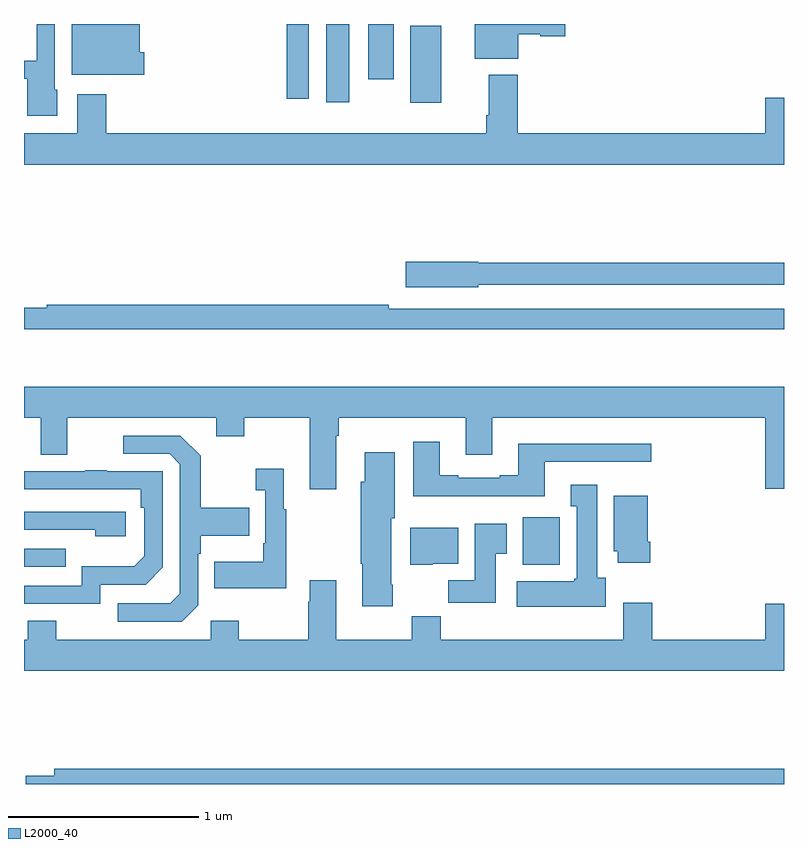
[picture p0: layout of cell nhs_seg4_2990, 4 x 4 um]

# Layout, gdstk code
import gdstk
lib = gdstk.Library(unit=1e-6, precision=1e-09)
def R(c, l, rs):  # rectangles x0, y0, x1, y1
    for r in rs: c.add(gdstk.rectangle(r[:2], r[2:], *l))
def P(c, l, *ps):  # polygons
    for p in ps: c.add(gdstk.Polygon(p, *l))
L2000_40 = (2000, 40)

nhs_seg4_2990 = lib.new_cell('nhs_seg4_2990')
R(nhs_seg4_2990, L2000_40, [(269,788.043,269.219,788.139), (271.625,788.054,271.821,788.305), (271.034,790.485,271.195,790.891), (270.59,790.488,270.712,790.9), (270.382,790.506,270.498,790.9), (270.812,790.608,270.946,790.9)])
P(nhs_seg4_2990, L2000_40, [(269.632,790.752),(269.608,790.752),(269.608,790.9),(269.252,790.9),(269.252,790.634),(269.632,790.634)],
  [(269.176,790.554),(269.163,790.554),(269.163,790.9),(269.067,790.9),(269.067,790.707),(269,790.707),(269,790.611),(269.018,790.611),(269.018,790.418),(269.176,790.418)],
  [(271.6,790.847),(271.716,790.847),(271.716,790.835),(271.849,790.835),(271.849,790.9),(271.373,790.9),(271.373,790.718),(271.6,790.718)],
  [(273,790.513),(272.9,790.513),(272.9,790.324),(271.598,790.324),(271.598,790.633),(271.445,790.633),(271.445,790.42),(271.433,790.42),(271.433,790.324),(269.432,790.324),(269.432,790.531),(269.279,790.531),(269.279,790.324),(269,790.324),(269,790.16),(273,790.16)],
  [(271.392,789.528),(273,789.528),(273,789.644),(271.392,789.644),(271.392,789.65),(271.008,789.65),(271.008,789.515),(271.392,789.515)],
  [(273,789.402),(270.92,789.402),(270.92,789.422),(269.12,789.422),(269.12,789.407),(269,789.407),(269,789.294),(273,789.294)],
  [(270.643,788.732),(270.656,788.732),(270.656,788.828),(271.325,788.828),(271.325,788.634),(271.465,788.634),(271.465,788.828),(272.9,788.828),(272.9,788.454),(273,788.454),(273,788.992),(269,788.992),(269,788.828),(269.087,788.828),(269.087,788.634),(269.227,788.634),(269.227,788.828),(270.011,788.828),(270.011,788.729),(270.159,788.729),(270.159,788.828),(270.503,788.828),(270.503,788.451),(270.643,788.451)],
  [(269.916,787.842),(269.916,788.111),(269.929,788.111),(269.929,788.207),(270.185,788.207),(270.185,788.355),(269.929,788.355),(269.929,788.627),(269.823,788.733),(269.523,788.733),(269.523,788.637),(269.766,788.637),(269.82,788.583),(269.82,787.902),(269.769,787.851),(269.493,787.851),(269.493,787.755),(269.829,787.755)],
  [(271.741,788.595),(272.302,788.595),(272.302,788.692),(271.601,788.692),(271.601,788.524),(271.505,788.524),(271.505,788.511),(271.285,788.511),(271.285,788.524),(271.189,788.524),(271.189,788.701),(271.049,788.701),(271.049,788.414),(271.741,788.414)],
  [(270.942,787.948),(270.934,787.948),(270.934,788.298),(270.952,788.298),(270.952,788.647),(270.794,788.647),(270.794,788.49),(270.772,788.49),(270.772,788.059),(270.779,788.059),(270.779,787.836),(270.942,787.836)],
  [(270.379,788.347),(270.367,788.347),(270.367,788.56),(270.219,788.56),(270.219,788.447),(270.27,788.447),(270.27,788.167),(270.258,788.167),(270.258,788.071),(270.001,788.071),(270.001,787.931),(270.379,787.931)],
  [(269.4,787.95),(269.64,787.95),(269.73,788.04),(269.73,788.547),(269.435,788.547),(269.435,788.552),(269.323,788.552),(269.323,788.547),(269,788.547),(269,788.451),(269.614,788.451),(269.614,788.354),(269.634,788.354),(269.634,788.1),(269.581,788.047),(269.304,788.047),(269.304,787.944),(269,787.944),(269,787.848),(269.4,787.848)],
  [(272.062,787.986),(272.017,787.986),(272.017,788.476),(271.877,788.476),(271.877,788.363),(271.91,788.363),(271.91,787.98),(271.897,787.98),(271.897,787.966),(271.593,787.966),(271.593,787.832),(272.062,787.832)],
  [(272.297,788.176),(272.284,788.176),(272.284,788.416),(272.105,788.416),(272.105,788.124),(272.126,788.124),(272.126,788.064),(272.297,788.064)],
  [(269.536,788.334),(269,788.334),(269,788.238),(269.375,788.238),(269.375,788.204),(269.536,788.204)],
  [(271.483,788.113),(271.54,788.113),(271.54,788.269),(271.373,788.269),(271.373,787.972),(271.234,787.972),(271.234,787.854),(271.483,787.854)],
  [(271.152,788.06),(271.285,788.06),(271.285,788.248),(271.034,788.248),(271.034,788.054),(271.152,788.054)],
  [(270.503,787.972),(270.503,787.859),(270.496,787.859),(270.496,787.66),(270.129,787.66),(270.129,787.759),(269.982,787.759),(269.982,787.66),(269.169,787.66),(269.169,787.759),(269.021,787.759),(269.021,787.66),(269,787.66),(269,787.496),(273,787.496),(273,787.849),(272.9,787.849),(272.9,787.66),(272.306,787.66),(272.306,787.855),(272.153,787.855),(272.153,787.66),(271.193,787.66),(271.193,787.784),(271.042,787.784),(271.042,787.66),(270.643,787.66),(270.643,787.972)],
  [(273,786.98),(269.159,786.98),(269.159,786.944),(269.01,786.944),(269.01,786.9),(273,786.9)])

lib.write_gds('nhs_seg4_2990.gds')
